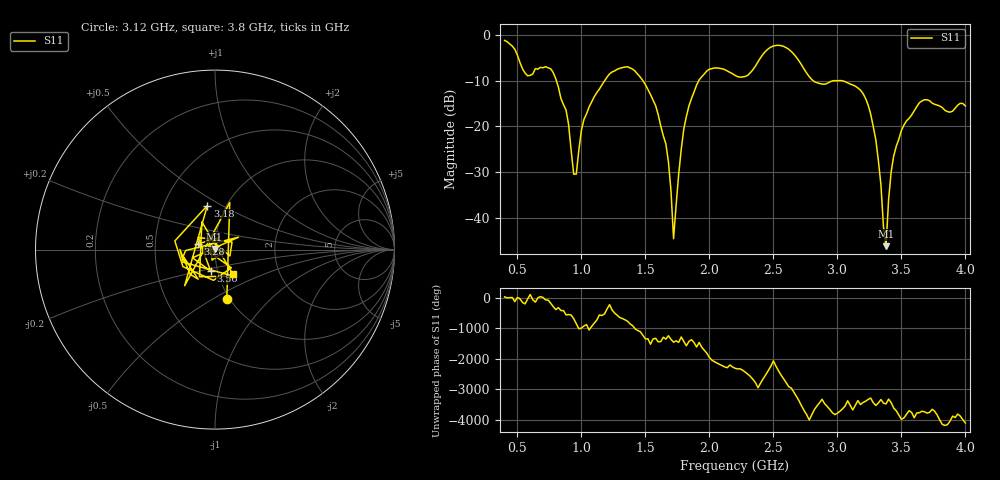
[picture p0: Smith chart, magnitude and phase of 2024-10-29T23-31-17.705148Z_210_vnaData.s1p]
!Created with skrf (http://scikit-rf.org).
# Hz S RI R 50.0
!freq ReS11 ImS11
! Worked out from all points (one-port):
!   181 points, 400 MHz to 4 GHz, reference 50 ohm
!   lowest |S11| = -46.1 dB at 3.38 GHz (marker M1), VSWR 1.01, Z = 49.7 + j0.419 ohm
!   |S11| at or under -10 dB: 804.3 MHz to 1.182 GHz (377.9 MHz wide, 38 % of centre); 1.48 GHz to 1.917 GHz (436.9 MHz wide, 25.7 % of centre); 3.026 GHz to end of sweep (the widest 3 of 4)
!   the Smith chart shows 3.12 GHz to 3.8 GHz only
!   S11 on the Smith chart (normalised r, x): 3.12 GHz: 0.97, -0.58; 3.18 GHz: 0.82, +0.43; 3.28 GHz: 0.83, +0.05; 3.56 GHz: 0.93, -0.23; 3.8 GHz: 1.17, -0.32
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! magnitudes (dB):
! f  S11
! 400 MHz  -1.2
! 580 MHz  -9.0
! 760 MHz  -7.4
! 860 MHz  -15.3
! 940 MHz  -30.4
! 960 MHz  -30.4
! 1.02 GHz  -18.5
! 1.3 GHz  -7.3
! 1.58 GHz  -15.5
! 1.68 GHz  -27.8
! 1.72 GHz  -44.5
! 1.76 GHz  -30.4
! 1.82 GHz  -17.8
! 1.92 GHz  -9.8
! 2.2 GHz  -8.9
! 2.5 GHz  -2.5
! 2.66 GHz  -4.2
! 2.82 GHz  -10.2
! 3.1 GHz  -10.8
! 3.12 GHz  -10.9
! 3.18 GHz  -12.1
! 3.28 GHz  -20.0
! 3.38 GHz  -46.1
! 3.4 GHz  -36.0
! 3.44 GHz  -26.4
! 3.56 GHz  -18.2
! 3.8 GHz  -15.6
! 4 GHz  -15.5
